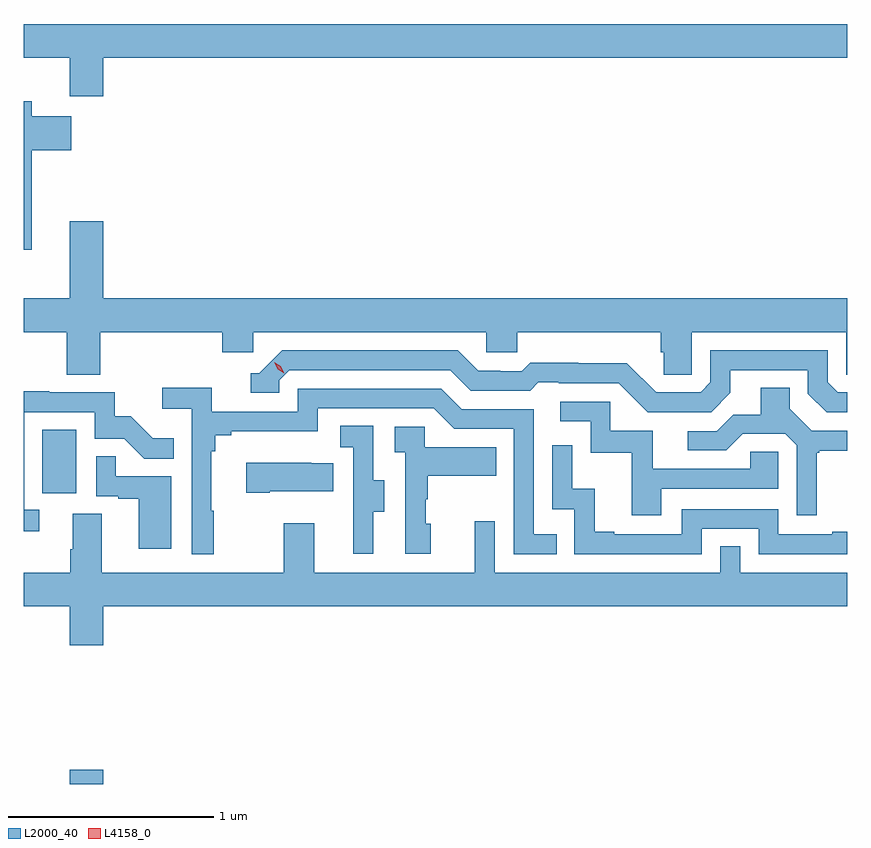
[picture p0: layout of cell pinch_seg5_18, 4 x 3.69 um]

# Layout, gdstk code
import gdstk
lib = gdstk.Library(unit=1e-6, precision=1e-09)
def R(c, l, rs):  # rectangles x0, y0, x1, y1
    for r in rs: c.add(gdstk.rectangle(r[:2], r[2:], *l))
def P(c, l, *ps):  # polygons
    for p in ps: c.add(gdstk.Polygon(p, *l))
L2000_40 = (2000, 40)
L4158_0 = (4158, 0)

pinch_seg5_18 = lib.new_cell('pinch_seg5_18')
R(pinch_seg5_18, L2000_40, [(1124.048,893.193,1124.212,893.263), (1123.916,894.606,1124.08,894.913)])
P(pinch_seg5_18, L2000_40, [(1124.212,896.72),(1127.825,896.72),(1127.825,896.884),(1123.825,896.884),(1123.825,896.72),(1124.048,896.72),(1124.048,896.532),(1124.212,896.532)],
  [(1123.864,896.272),(1124.056,896.272),(1124.056,896.437),(1123.864,896.437),(1123.864,896.509),(1123.825,896.509),(1123.825,895.788),(1123.864,895.788)],
  [(1124.198,895.388),(1124.789,895.388),(1124.789,895.29),(1124.94,895.29),(1124.94,895.388),(1126.071,895.388),(1126.071,895.29),(1126.221,895.29),(1126.221,895.388),(1126.919,895.388),(1126.919,895.29),(1126.933,895.29),(1126.933,895.18),(1127.07,895.18),(1127.07,895.388),(1127.82,895.388),(1127.82,895.18),(1127.825,895.18),(1127.825,895.552),(1124.212,895.552),(1124.212,895.927),(1124.048,895.927),(1124.048,895.552),(1123.825,895.552),(1123.825,895.388),(1124.033,895.388),(1124.033,895.18),(1124.198,895.18)],
  [(1127.257,895.093),(1127.257,895.203),(1127.634,895.203),(1127.634,895.089),(1127.724,894.999),(1127.825,894.999),(1127.825,895.095),(1127.778,895.095),(1127.73,895.143),(1127.73,895.299),(1127.16,895.299),(1127.16,895.143),(1127.112,895.095),(1126.896,895.095),(1126.754,895.237),(1126.518,895.237),(1126.518,895.24),(1126.285,895.24),(1126.243,895.197),(1126.14,895.197),(1126.14,895.2),(1126.033,895.2),(1125.934,895.299),(1125.081,895.299),(1124.97,895.188),(1124.927,895.188),(1124.927,895.092),(1125.066,895.092),(1125.066,895.155),(1125.114,895.203),(1125.897,895.203),(1125.996,895.104),(1126.285,895.104),(1126.324,895.143),(1126.423,895.143),(1126.423,895.14),(1126.716,895.14),(1126.857,894.999),(1127.163,894.999)],
  [(1127.677,894.801),(1127.689,894.801),(1127.689,894.812),(1127.825,894.812),(1127.825,894.909),(1127.652,894.909),(1127.545,895.016),(1127.545,895.118),(1127.405,895.118),(1127.405,894.986),(1127.27,894.986),(1127.19,894.906),(1127.049,894.906),(1127.049,894.813),(1127.236,894.813),(1127.317,894.894),(1127.523,894.894),(1127.58,894.837),(1127.58,894.498),(1127.677,894.498)],
  [(1124.749,894.521),(1124.737,894.521),(1124.737,894.809),(1124.756,894.809),(1124.756,894.886),(1124.833,894.886),(1124.833,894.905),(1125.252,894.905),(1125.252,895.017),(1125.816,895.017),(1125.915,894.918),(1126.206,894.918),(1126.206,894.309),(1126.415,894.309),(1126.415,894.405),(1126.302,894.405),(1126.302,895.014),(1125.952,895.014),(1125.853,895.113),(1125.156,895.113),(1125.156,895.002),(1124.738,895.002),(1124.738,895.118),(1124.499,895.118),(1124.499,895.016),(1124.64,895.016),(1124.64,894.309),(1124.749,894.309)],
  [(1123.9,894.525),(1123.827,894.525),(1123.827,894.999),(1124.169,894.999),(1124.169,894.87),(1124.313,894.87),(1124.411,894.772),(1124.555,894.772),(1124.555,894.871),(1124.451,894.871),(1124.344,894.978),(1124.268,894.978),(1124.268,895.095),(1123.949,895.095),(1123.949,895.1),(1123.825,895.1),(1123.825,894.42),(1123.9,894.42)],
  [(1126.921,894.627),(1127.49,894.627),(1127.49,894.807),(1127.353,894.807),(1127.353,894.723),(1126.879,894.723),(1126.879,894.909),(1126.674,894.909),(1126.674,895.05),(1126.431,895.05),(1126.431,894.954),(1126.578,894.954),(1126.578,894.801),(1126.777,894.801),(1126.777,894.498),(1126.921,894.498)],
  [(1125.523,894.514),(1125.577,894.514),(1125.577,894.669),(1125.522,894.669),(1125.522,894.932),(1125.363,894.932),(1125.363,894.829),(1125.426,894.829),(1125.426,894.525),(1125.425,894.525),(1125.425,894.312),(1125.523,894.312)],
  [(1125.802,894.456),(1125.777,894.456),(1125.777,894.575),(1125.787,894.575),(1125.787,894.689),(1126.121,894.689),(1126.121,894.829),(1125.774,894.829),(1125.774,894.927),(1125.627,894.927),(1125.627,894.803),(1125.678,894.803),(1125.678,894.312),(1125.802,894.312)],
  [(1127.118,894.432),(1127.394,894.432),(1127.394,894.309),(1127.825,894.309),(1127.825,894.418),(1127.753,894.418),(1127.753,894.405),(1127.49,894.405),(1127.49,894.528),(1127.022,894.528),(1127.022,894.405),(1126.693,894.405),(1126.693,894.418),(1126.598,894.418),(1126.598,894.626),(1126.488,894.626),(1126.488,894.838),(1126.392,894.838),(1126.392,894.528),(1126.5,894.528),(1126.5,894.309),(1127.118,894.309)],
  [(1124.542,894.687),(1124.273,894.687),(1124.273,894.785),(1124.178,894.785),(1124.178,894.591),(1124.285,894.591),(1124.285,894.579),(1124.384,894.579),(1124.384,894.336),(1124.542,894.336)],
  [(1125.019,894.614),(1125.329,894.614),(1125.329,894.751),(1125.221,894.751),(1125.221,894.754),(1124.907,894.754),(1124.907,894.607),(1125.019,894.607)],
  [(1124.212,894.056),(1127.825,894.056),(1127.825,894.22),(1127.304,894.22),(1127.304,894.347),(1127.208,894.347),(1127.208,894.22),(1126.113,894.22),(1126.113,894.469),(1126.016,894.469),(1126.016,894.22),(1125.235,894.22),(1125.235,894.46),(1125.088,894.46),(1125.088,894.22),(1124.203,894.22),(1124.203,894.506),(1124.063,894.506),(1124.063,894.332),(1124.051,894.332),(1124.051,894.22),(1123.825,894.22),(1123.825,894.056),(1124.048,894.056),(1124.048,893.868),(1124.212,893.868)])
P(pinch_seg5_18, L4158_0, [(1125.09,895.188),(1125.059,895.208),(1125.043,895.241),(1125.043,895.242),(1125.043,895.242),(1125.074,895.222),(1125.09,895.189),(1125.09,895.188)])

lib.write_gds('pinch_seg5_18.gds')
